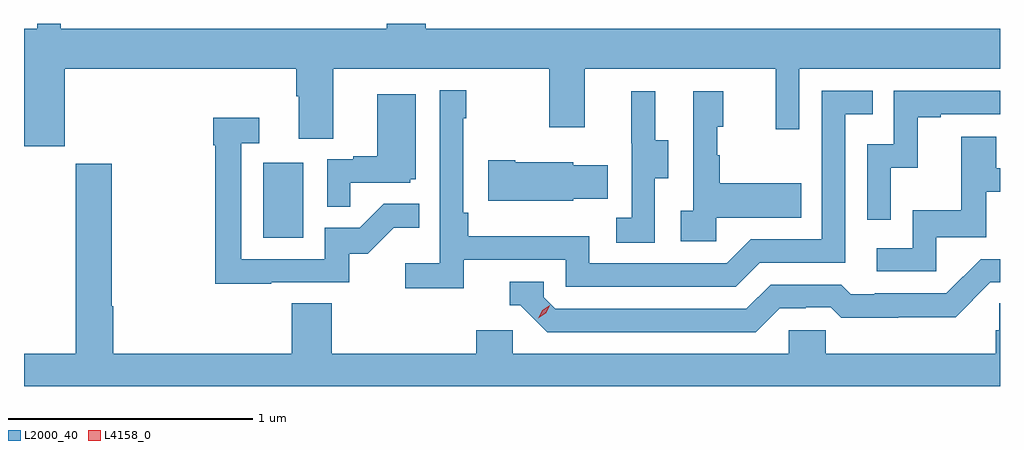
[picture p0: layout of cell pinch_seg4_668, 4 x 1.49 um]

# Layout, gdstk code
import gdstk
lib = gdstk.Library(unit=1e-6, precision=1e-09)
def R(c, l, rs):  # rectangles x0, y0, x1, y1
    for r in rs: c.add(gdstk.rectangle(r[:2], r[2:], *l))
def P(c, l, *ps):  # polygons
    for p in ps: c.add(gdstk.Polygon(p, *l))
L2000_40 = (2000, 40)
L4158_0 = (4158, 0)

pinch_seg4_668 = lib.new_cell('pinch_seg4_668')
R(pinch_seg4_668, L2000_40, [(1116.812,749.508,1116.976,749.815)])
P(pinch_seg4_668, L2000_40, [(1117.478,750.385),(1117.318,750.385),(1117.318,750.364),(1115.982,750.364),(1115.982,750.385),(1115.886,750.385),(1115.886,750.364),(1115.832,750.364),(1115.832,750.2),(1115.834,750.2),(1115.834,749.883),(1115.998,749.883),(1115.998,750.2),(1116.947,750.2),(1116.947,750.088),(1116.959,750.088),(1116.959,749.914),(1117.099,749.914),(1117.099,750.2),(1117.984,750.2),(1117.984,749.961),(1118.131,749.961),(1118.131,750.2),(1118.912,750.2),(1118.912,749.952),(1119.009,749.952),(1119.009,750.2),(1119.832,750.2),(1119.832,750.364),(1117.478,750.364)],
  [(1117.634,749.418),(1118.052,749.418),(1118.052,749.307),(1118.749,749.307),(1118.848,749.406),(1119.198,749.406),(1119.198,750.015),(1119.311,750.015),(1119.311,750.111),(1119.102,750.111),(1119.102,749.502),(1118.811,749.502),(1118.712,749.403),(1118.148,749.403),(1118.148,749.515),(1117.652,749.515),(1117.652,749.611),(1117.632,749.611),(1117.632,749.999),(1117.645,749.999),(1117.645,750.112),(1117.536,750.112),(1117.536,749.404),(1117.395,749.404),(1117.395,749.302),(1117.634,749.302)],
  [(1119.384,749.795),(1119.494,749.795),(1119.494,750.003),(1119.589,750.003),(1119.589,750.015),(1119.832,750.015),(1119.832,750.111),(1119.396,750.111),(1119.396,749.892),(1119.288,749.892),(1119.288,749.583),(1119.384,749.583)],
  [(1118.418,749.752),(1118.473,749.752),(1118.473,749.907),(1118.419,749.907),(1118.419,750.109),(1118.321,750.109),(1118.321,749.895),(1118.322,749.895),(1118.322,749.591),(1118.259,749.591),(1118.259,749.488),(1118.418,749.488)],
  [(1118.67,749.591),(1119.017,749.591),(1119.017,749.731),(1118.683,749.731),(1118.683,749.846),(1118.673,749.846),(1118.673,749.964),(1118.698,749.964),(1118.698,750.109),(1118.574,750.109),(1118.574,749.618),(1118.523,749.618),(1118.523,749.493),(1118.67,749.493)],
  [(1117.169,749.733),(1117.416,749.733),(1117.416,749.748),(1117.438,749.748),(1117.438,750.097),(1117.28,750.097),(1117.28,749.842),(1117.181,749.842),(1117.181,749.829),(1117.074,749.829),(1117.074,749.635),(1117.169,749.635)],
  [(1116.845,749.325),(1117.164,749.325),(1117.164,749.442),(1117.24,749.442),(1117.347,749.549),(1117.451,749.549),(1117.451,749.648),(1117.307,749.648),(1117.209,749.55),(1117.065,749.55),(1117.065,749.421),(1116.723,749.421),(1116.723,749.895),(1116.796,749.895),(1116.796,750.001),(1116.607,750.001),(1116.607,749.888),(1116.615,749.888),(1116.615,749.32),(1116.845,749.32)],
  [(1119.57,749.511),(1119.775,749.511),(1119.775,749.697),(1119.832,749.697),(1119.832,749.793),(1119.817,749.793),(1119.817,749.923),(1119.673,749.923),(1119.673,749.62),(1119.474,749.62),(1119.474,749.466),(1119.327,749.466),(1119.327,749.37),(1119.57,749.37)],
  [(1118.082,749.669),(1118.225,749.669),(1118.225,749.806),(1118.082,749.806),(1118.082,749.818),(1117.846,749.818),(1117.846,749.826),(1117.734,749.826),(1117.734,749.66),(1118.082,749.66)],
  [(1119.832,749.24),(1119.829,749.24),(1119.829,749.13),(1119.815,749.13),(1119.815,749.032),(1119.117,749.032),(1119.117,749.13),(1118.967,749.13),(1118.967,749.032),(1117.836,749.032),(1117.836,749.13),(1117.685,749.13),(1117.685,749.032),(1117.094,749.032),(1117.094,749.24),(1116.929,749.24),(1116.929,749.032),(1116.197,749.032),(1116.197,749.228),(1116.192,749.228),(1116.192,749.811),(1116.044,749.811),(1116.044,749.032),(1115.832,749.032),(1115.832,748.9),(1119.832,748.9)],
  [(1118.929,749.22),(1119.036,749.22),(1119.036,749.223),(1119.139,749.223),(1119.181,749.181),(1119.414,749.181),(1119.414,749.183),(1119.65,749.183),(1119.792,749.325),(1119.832,749.325),(1119.832,749.421),(1119.753,749.421),(1119.612,749.28),(1119.319,749.28),(1119.319,749.277),(1119.22,749.277),(1119.181,749.316),(1118.892,749.316),(1118.793,749.217),(1118.01,749.217),(1117.962,749.265),(1117.962,749.328),(1117.823,749.328),(1117.823,749.232),(1117.866,749.232),(1117.977,749.121),(1118.83,749.121)])
P(pinch_seg4_668, L4158_0, [(1117.94,749.178),(1117.94,749.178),(1117.956,749.211),(1117.986,749.231),(1117.986,749.231),(1117.986,749.23),(1117.971,749.198),(1117.94,749.178)])

lib.write_gds('pinch_seg4_668.gds')
